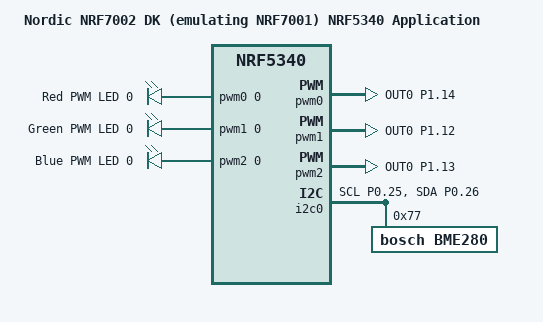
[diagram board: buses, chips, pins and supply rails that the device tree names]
/*
 * Copyright (c) 2023 Nordic Semiconductor ASA
 *
 * SPDX-License-Identifier: LicenseRef-Nordic-5-Clause
 */

/dts-v1/;
#include <nordic/nrf5340_cpuapp_qkaa.dtsi>
#include "nrf5340_cpuapp_common.dts"
#include "led_controller_nrf7002dk_nrf5340_cpuapp-pinctrl.dtsi"

/ {
	model = "Nordic NRF7002 DK (emulating NRF7001) NRF5340 Application";
	compatible = "nordic,nrf7002-dk-nrf5340-cpuapp";

	chosen {
		zephyr,sram = &sram0_image;
		zephyr,flash = &flash0;
		zephyr,code-partition = &slot0_partition;
		zephyr,sram-secure-partition = &sram0_s;
		zephyr,sram-non-secure-partition = &sram0_ns;
	};

	pwmleds {
		compatible = "pwm-leds";
		pwm_red: pwm_red {
			pwms = <&pwm0 0 PWM_MSEC(10) PWM_POLARITY_NORMAL>;
            label = "Red PWM LED 0";
		};
		pwm_green: pwm_green {
			pwms = <&pwm1 0 PWM_MSEC(10) PWM_POLARITY_NORMAL>;
            label = "Green PWM LED 0";
		};
		pwm_blue: pwm_blue {
			pwms = <&pwm2 0 PWM_MSEC(10) PWM_POLARITY_NORMAL>;
            label = "Blue PWM LED 0";
		};
	};

	aliases {
		pwm-red = &pwm_red;
		pwm-green = &pwm_green;
		pwm-blue = &pwm_blue;
	};
};


&sw_pwm {
	status = "disabled";
};

&pwm0 {
	status = "okay";
	pinctrl-0 = <&pwm0_default>;
	pinctrl-1 = <&pwm0_sleep>;
    pinctrl-names = "default", "sleep";
};

&pwm1 {
	status = "okay";
	pinctrl-0 = <&pwm1_default>;
	pinctrl-1 = <&pwm1_sleep>;
    pinctrl-names = "default", "sleep";
};

&pwm2 {
	status = "okay";
	pinctrl-0 = <&pwm2_default>;
	pinctrl-1 = <&pwm2_sleep>;
    pinctrl-names = "default", "sleep";
};

&pinctrl {
	pwm0_default: pwm0_default {
		group1 {
			psels = <NRF_PSEL(PWM_OUT0, 1, 14)>;
			bias-pull-down;
		};
	};
	
	pwm1_default: pwm1_default {
		group1 {
			psels = <NRF_PSEL(PWM_OUT0, 1, 12)>;
			bias-pull-down;
		};
	};

	pwm2_default: pwm2_default {
		group1 {
			psels = <NRF_PSEL(PWM_OUT0, 1, 13)>;
			bias-pull-down;
		};
	};

	pwm0_sleep: pwm0_sleep {
        group1 {
            psels = <NRF_PSEL(PWM_OUT0, 1, 14)>;
            bias-pull-down;
        };
    };

    pwm1_sleep: pwm1_sleep {
        group1 {
            psels = <NRF_PSEL(PWM_OUT0, 1, 12)>;
            bias-pull-down;
        };
    };

    pwm2_sleep: pwm2_sleep {
        group1 {
            psels = <NRF_PSEL(PWM_OUT0, 1, 13)>;
            bias-pull-down;
        };
    };

	i2c0_default: i2c0_default {
		group1 {
			psels = <NRF_PSEL(TWIM_SCL, 0, 25)>, <NRF_PSEL(TWIM_SDA, 0, 26)>;
		};
	};
};

&i2c0 {
	status = "okay";
	pinctrl-0 = <&i2c0_default>;
	pinctrl-names = "default";
	bme280@77 {
		compatible = "bosch,bme280";
		reg = <0x77>;
	};
};
